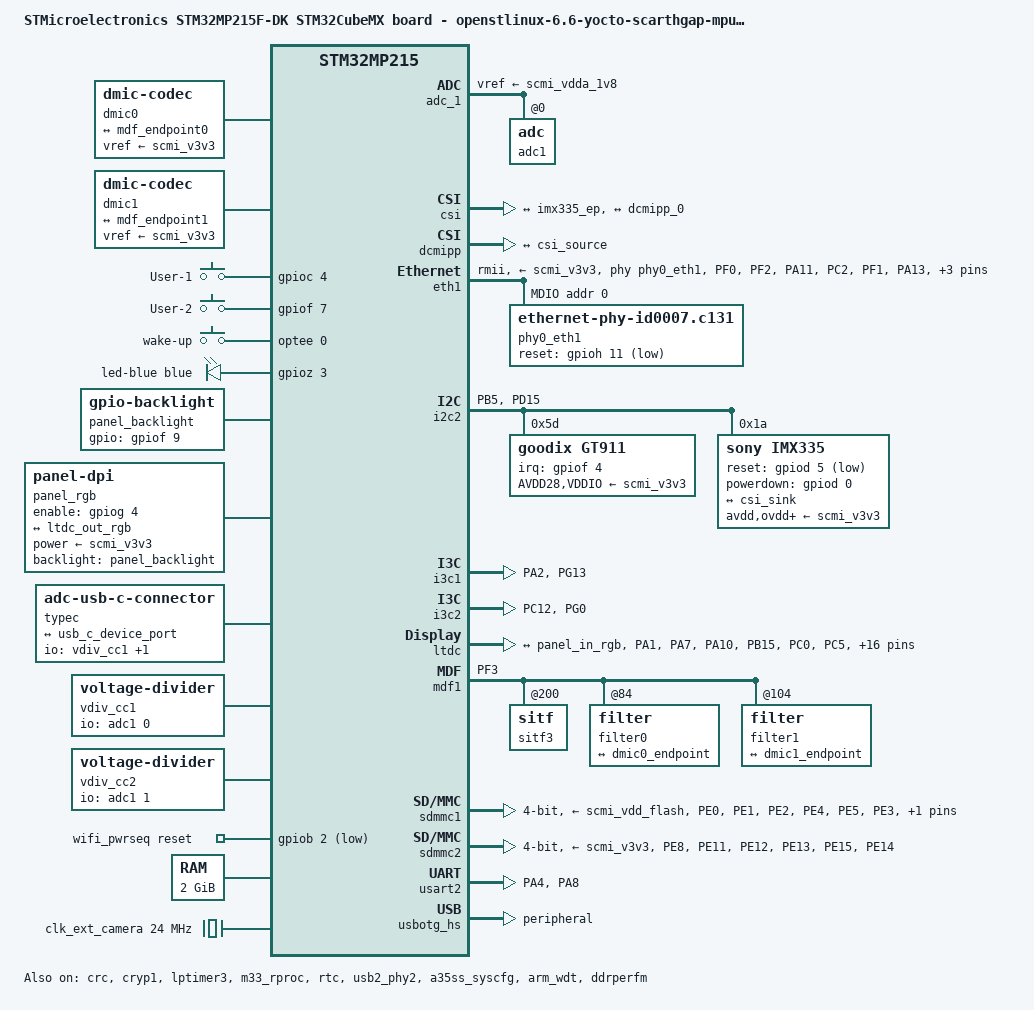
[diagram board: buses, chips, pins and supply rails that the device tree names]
/dts-v1/;
#include <dt-bindings/pinctrl/stm32-pinfunc.h>
#include "stm32mp215.dtsi"
#include "stm32mp21xf.dtsi"

/* USER CODE BEGIN includes */
#include <dt-bindings/gpio/gpio.h>
#include <dt-bindings/leds/common.h>
#include <dt-bindings/input/input.h>
#include <dt-bindings/rtc/rtc-stm32.h>
#include "stm32mp21-pinctrl.dtsi"
/* USER CODE END includes */

/{
	model = "STMicroelectronics STM32MP215F-DK STM32CubeMX board - openstlinux-6.6-yocto-scarthgap-mpu-v25.01.03";
	compatible = "st,stm32mp215f-board_215f-dk_a35td_tzen-mx", "st,stm32mp215f-dk", "st,stm32mp215";

	/* USER CODE BEGIN root */

	aliases{
		ethernet0 = &eth1;
		serial0 = &usart2;
		serial1 = &usart6;
		serial2 = &uart4;
		serial3 = &usart1;
	};

	chosen{
		stdout-path = "serial0:115200n8";
		#address-cells = <2>;
		#size-cells = <2>;
		ranges;
	};

	dmic0:dmic-0{
		compatible = "dmic-codec";
		#sound-dai-cells = <1>;
		sound-name-prefix = "dmic0";
		vref-supply = <&scmi_v3v3>;
		status = "okay";

		port{

			dmic0_endpoint:endpoint{
				remote-endpoint = <&mdf_endpoint0>;
			};
		};
	};

	dmic1:dmic-1{
		compatible = "dmic-codec";
		#sound-dai-cells = <1>;
		sound-name-prefix = "dmic1";
		vref-supply = <&scmi_v3v3>;
		status = "okay";

		port{

			dmic1_endpoint:endpoint{
				remote-endpoint = <&mdf_endpoint1>;
			};
		};
	};

	gpio-keys{
		compatible = "gpio-keys";

		button-user-1{
			label = "User-1";
			linux,code = <BTN_1>;
			gpios = <&gpioc 4 GPIO_ACTIVE_HIGH>;
			status = "okay";
		};

		button-user-2{
			label = "User-2";
			linux,code = <BTN_2>;
			gpios = <&gpiof 7 GPIO_ACTIVE_HIGH>;
			status = "okay";
		};

		button-wake-up{
			label = "wake-up";
			linux,code = <KEY_WAKEUP>;
			interrupts-extended = <&optee 0>;
			wakeup-source;
			status = "okay";
		};
	};

	gpio-leds{
		compatible = "gpio-leds";

		led-blue{
			function = LED_FUNCTION_HEARTBEAT;
			color = <LED_COLOR_ID_BLUE>;
			gpios = <&gpioz 3 GPIO_ACTIVE_HIGH>;
			linux,default-trigger = "heartbeat";
			default-state = "off";
		};
	};

	panel_backlight:panel-backlight{
		compatible = "gpio-backlight";
		gpios = <&gpiof 9 GPIO_ACTIVE_HIGH>;
		default-on;
		default-brightness-level = <1>;
		status = "okay";
	};

	panel_rgb:panel-rgb{
		compatible = "panel-dpi";
		enable-gpios = <&gpiog 4 GPIO_ACTIVE_HIGH>;
		backlight = <&panel_backlight>;
		power-supply = <&scmi_v3v3>;
		data-mapping = "bgr666";
		default-on;
		status = "okay";
		width-mm = <105>;
		height-mm = <67>;

		port{

			panel_in_rgb:endpoint{
				remote-endpoint = <&ltdc_out_rgb>;
			};
		};

		panel-timing{
			clock-frequency = <10000000>;
			hactive = <480>;
			vactive = <272>;
			hsync-len = <52>;
			hfront-porch = <10>;
			hback-porch = <10>;
			vsync-len = <10>;
			vfront-porch = <10>;
			vback-porch = <10>;
			hsync-active = <0>;
			vsync-active = <0>;
			de-active = <1>;
			pixelclk-active = <1>;
		};
	};

	sound{
		compatible = "audio-graph-card";
		label = "STM32MP21-DK";
		dais = <&mdf1_port0 &mdf1_port1>;
		status = "okay";
	};

	typec{
		compatible = "adc-usb-c-connector";
		io-channels = <&vdiv_cc1>, <&vdiv_cc2>;
		io-channel-names = "cc1", "cc2";

		connector{
			compatible = "usb-c-connector";
			label = "USB-C";
			data-role = "device";
			power-role = "sink";

			port{

				usb_c_port:endpoint{
					remote-endpoint = <&usb_c_device_port>;
				};
			};
		};
	};

	vdiv_cc1:voltage-divider-cc1{
		compatible = "voltage-divider";
		#io-channel-cells = <0>;
		io-channels = <&adc1 0>;
		output-ohms = <3900>;
		full-ohms = <5100>;
	};

	vdiv_cc2:voltage-divider-cc2{
		compatible = "voltage-divider";
		#io-channel-cells = <0>;
		io-channels = <&adc1 1>;
		output-ohms = <3900>;
		full-ohms = <5100>;
	};

	wifi_pwrseq:wifi-pwrseq{
		compatible = "mmc-pwrseq-simple";
		reset-gpios = <&gpiob 2 GPIO_ACTIVE_LOW>;
	};
	/* USER CODE END root */

	memory@80000000{
		device_type = "memory";
		reg = <0x0 0x80000000 0x0 0x80000000>;
	};

	clocks{

		/* USER CODE BEGIN clocks */

		clk_ext_camera:clk-ext-camera{
			#clock-cells = <0>;
			compatible = "fixed-clock";
			clock-frequency = <24000000>;
		};
		/* USER CODE END clocks */
	};
};

&pinctrl {

	eth1_mdio_pins_mx:eth1_mdio_mx-0{

		pins{
			pinmux = <STM32_PINMUX('F', 0, AF10)>,
					<STM32_PINMUX('F', 2, AF10)>;
			bias-disable;
			drive-push-pull;
			slew-rate = <1>;
		};
	};

	eth1_mdio_sleep_pins_mx:eth1_mdio_sleep_mx-0{

		pins{
			pinmux = <STM32_PINMUX('F', 0, ANALOG)>,
					<STM32_PINMUX('F', 2, ANALOG)>;
		};
	};

	eth1_rmii_pins_mx:eth1_rmii_mx-0{

		pins1{
			pinmux = <STM32_PINMUX('A', 11, AF10)>,
					<STM32_PINMUX('C', 2, AF10)>,
					<STM32_PINMUX('F', 1, AF10)>;
			bias-disable;
			drive-push-pull;
		};

		pins2{
			pinmux = <STM32_PINMUX('A', 13, AF10)>,
					<STM32_PINMUX('A', 14, AF10)>,
					<STM32_PINMUX('A', 15, AF10)>,
					<STM32_PINMUX('C', 1, AF10)>;
			bias-disable;
			drive-push-pull;
			slew-rate = <1>;
		};
	};

	eth1_rmii_sleep_pins_mx:eth1_rmii_sleep_mx-0{

		pins{
			pinmux = <STM32_PINMUX('A', 11, ANALOG)>,
					<STM32_PINMUX('A', 13, ANALOG)>,
					<STM32_PINMUX('A', 14, ANALOG)>,
					<STM32_PINMUX('A', 15, ANALOG)>,
					<STM32_PINMUX('C', 1, ANALOG)>,
					<STM32_PINMUX('C', 2, ANALOG)>,
					<STM32_PINMUX('F', 1, ANALOG)>;
		};
	};

	i2c2_pins_mx:i2c2_mx-0{

		pins{
			pinmux = <STM32_PINMUX('B', 5, AF9)>,
					<STM32_PINMUX('D', 15, AF6)>;
			bias-disable;
			drive-open-drain;
			slew-rate = <0>;
		};
	};

	i2c2_sleep_pins_mx:i2c2_sleep_mx-0{

		pins{
			pinmux = <STM32_PINMUX('B', 5, ANALOG)>,
					<STM32_PINMUX('D', 15, ANALOG)>;
		};
	};

	i3c1_pins_mx:i3c1_mx-0{

		pins{
			pinmux = <STM32_PINMUX('A', 2, AF8)>,
					<STM32_PINMUX('G', 13, AF10)>;
			bias-pull-up;
			drive-push-pull;
			slew-rate = <3>;
		};
	};

	i3c1_sleep_pins_mx:i3c1_sleep_mx-0{

		pins{
			pinmux = <STM32_PINMUX('A', 2, ANALOG)>,
					<STM32_PINMUX('G', 13, ANALOG)>;
		};
	};

	i3c2_pins_mx:i3c2_mx-0{

		pins{
			pinmux = <STM32_PINMUX('C', 12, AF4)>,
					<STM32_PINMUX('G', 0, AF4)>;
			bias-pull-up;
			drive-push-pull;
			slew-rate = <3>;
		};
	};

	i3c2_sleep_pins_mx:i3c2_sleep_mx-0{

		pins{
			pinmux = <STM32_PINMUX('C', 12, ANALOG)>,
					<STM32_PINMUX('G', 0, ANALOG)>;
		};
	};

	ltdc_pins_mx:ltdc_mx-0{

		pins1{
			pinmux = <STM32_PINMUX('A', 1, AF11)>,
					<STM32_PINMUX('A', 7, AF10)>,
					<STM32_PINMUX('A', 10, AF12)>,
					<STM32_PINMUX('B', 15, AF13)>,
					<STM32_PINMUX('C', 0, AF13)>,
					<STM32_PINMUX('C', 5, AF14)>,
					<STM32_PINMUX('C', 11, AF13)>,
					<STM32_PINMUX('F', 5, AF13)>,
					<STM32_PINMUX('G', 2, AF13)>,
					<STM32_PINMUX('G', 5, AF13)>,
					<STM32_PINMUX('G', 7, AF13)>,
					<STM32_PINMUX('G', 8, AF13)>,
					<STM32_PINMUX('G', 9, AF13)>,
					<STM32_PINMUX('G', 10, AF13)>,
					<STM32_PINMUX('G', 11, AF13)>,
					<STM32_PINMUX('G', 12, AF13)>,
					<STM32_PINMUX('G', 15, AF13)>,
					<STM32_PINMUX('I', 0, AF13)>,
					<STM32_PINMUX('I', 1, AF13)>,
					<STM32_PINMUX('I', 4, AF13)>,
					<STM32_PINMUX('I', 6, AF13)>;
			bias-disable;
			drive-push-pull;
			slew-rate = <0>;
			st,io-clk-edge = <0>;
			st,io-retime = <1>;
			st,io-delay-path = <0>;
			st,io-delay = <0b0000>;
		};

		pins2{
			pinmux = <STM32_PINMUX('F', 12, AF13)>;
			bias-disable;
			drive-push-pull;
			slew-rate = <1>;
			st,io-clk-edge = <0>;
			st,io-retime = <0>;
			st,io-delay-path = <0>;
			st,io-delay = <0b0000>;
		};
	};

	ltdc_sleep_pins_mx:ltdc_sleep_mx-0{

		pins{
			pinmux = <STM32_PINMUX('A', 1, ANALOG)>,
					<STM32_PINMUX('A', 7, ANALOG)>,
					<STM32_PINMUX('A', 10, ANALOG)>,
					<STM32_PINMUX('B', 15, ANALOG)>,
					<STM32_PINMUX('C', 0, ANALOG)>,
					<STM32_PINMUX('C', 5, ANALOG)>,
					<STM32_PINMUX('C', 11, ANALOG)>,
					<STM32_PINMUX('F', 5, ANALOG)>,
					<STM32_PINMUX('F', 12, ANALOG)>,
					<STM32_PINMUX('G', 2, ANALOG)>,
					<STM32_PINMUX('G', 5, ANALOG)>,
					<STM32_PINMUX('G', 7, ANALOG)>,
					<STM32_PINMUX('G', 8, ANALOG)>,
					<STM32_PINMUX('G', 9, ANALOG)>,
					<STM32_PINMUX('G', 10, ANALOG)>,
					<STM32_PINMUX('G', 11, ANALOG)>,
					<STM32_PINMUX('G', 12, ANALOG)>,
					<STM32_PINMUX('G', 15, ANALOG)>,
					<STM32_PINMUX('I', 0, ANALOG)>,
					<STM32_PINMUX('I', 1, ANALOG)>,
					<STM32_PINMUX('I', 4, ANALOG)>,
					<STM32_PINMUX('I', 6, ANALOG)>;
		};
	};

	mdf1_pins_mx:mdf1_mx-0{

		pins{
			pinmux = <STM32_PINMUX('F', 3, AF5)>;
			bias-disable;
			drive-push-pull;
			slew-rate = <1>;
		};
	};

	mdf1_sleep_pins_mx:mdf1_sleep_mx-0{

		pins{
			pinmux = <STM32_PINMUX('F', 3, ANALOG)>;
		};
	};

	sdmmc1_pins_mx:sdmmc1_mx-0{

		pins1{
			pinmux = <STM32_PINMUX('E', 0, AF10)>,
					<STM32_PINMUX('E', 1, AF10)>,
					<STM32_PINMUX('E', 2, AF10)>,
					<STM32_PINMUX('E', 4, AF10)>,
					<STM32_PINMUX('E', 5, AF10)>;
			bias-disable;
			drive-push-pull;
			slew-rate = <2>;
		};

		pins2{
			pinmux = <STM32_PINMUX('E', 3, AF10)>;
			bias-disable;
			drive-push-pull;
			slew-rate = <3>;
		};
	};

	sdmmc1_opendrain_pins_mx:sdmmc1_opendrain_mx-0{

		pins1{
			pinmux = <STM32_PINMUX('E', 0, AF10)>,
					<STM32_PINMUX('E', 1, AF10)>,
					<STM32_PINMUX('E', 4, AF10)>,
					<STM32_PINMUX('E', 5, AF10)>;
			bias-disable;
			drive-push-pull;
			slew-rate = <2>;
		};

		pins2{
			pinmux = <STM32_PINMUX('E', 2, AF10)>;
			bias-disable;
			drive-open-drain;
			slew-rate = <2>;
		};

		pins3{
			pinmux = <STM32_PINMUX('E', 3, AF10)>;
			bias-disable;
			drive-push-pull;
			slew-rate = <3>;
		};
	};

	sdmmc1_sleep_pins_mx:sdmmc1_sleep_mx-0{

		pins{
			pinmux = <STM32_PINMUX('E', 0, ANALOG)>,
					<STM32_PINMUX('E', 1, ANALOG)>,
					<STM32_PINMUX('E', 2, ANALOG)>,
					<STM32_PINMUX('E', 3, ANALOG)>,
					<STM32_PINMUX('E', 4, ANALOG)>,
					<STM32_PINMUX('E', 5, ANALOG)>;
		};
	};

	sdmmc2_pins_mx:sdmmc2_mx-0{

		pins1{
			pinmux = <STM32_PINMUX('E', 8, AF12)>,
					<STM32_PINMUX('E', 11, AF12)>,
					<STM32_PINMUX('E', 12, AF12)>,
					<STM32_PINMUX('E', 13, AF12)>,
					<STM32_PINMUX('E', 15, AF12)>;
			bias-disable;
			drive-push-pull;
			slew-rate = <2>;
		};

		pins2{
			pinmux = <STM32_PINMUX('E', 14, AF12)>;
			bias-disable;
			drive-push-pull;
			slew-rate = <3>;
		};
	};

	sdmmc2_opendrain_pins_mx:sdmmc2_opendrain_mx-0{

		pins1{
			pinmux = <STM32_PINMUX('E', 8, AF12)>,
					<STM32_PINMUX('E', 11, AF12)>,
					<STM32_PINMUX('E', 12, AF12)>,
					<STM32_PINMUX('E', 13, AF12)>;
			bias-disable;
			drive-push-pull;
			slew-rate = <2>;
		};

		pins2{
			pinmux = <STM32_PINMUX('E', 14, AF12)>;
			bias-disable;
			drive-push-pull;
			slew-rate = <3>;
		};

		pins3{
			pinmux = <STM32_PINMUX('E', 15, AF12)>;
			bias-disable;
			drive-open-drain;
			slew-rate = <2>;
		};
	};

	sdmmc2_sleep_pins_mx:sdmmc2_sleep_mx-0{

		pins{
			pinmux = <STM32_PINMUX('E', 8, ANALOG)>,
					<STM32_PINMUX('E', 11, ANALOG)>,
					<STM32_PINMUX('E', 12, ANALOG)>,
					<STM32_PINMUX('E', 13, ANALOG)>,
					<STM32_PINMUX('E', 14, ANALOG)>,
					<STM32_PINMUX('E', 15, ANALOG)>;
		};
	};

	usart2_pins_mx:usart2_mx-0{

		pins1{
			pinmux = <STM32_PINMUX('A', 4, AF6)>;
			bias-disable;
			drive-push-pull;
			slew-rate = <0>;
		};

		pins2{
			pinmux = <STM32_PINMUX('A', 8, AF8)>;
			bias-disable;
			drive-push-pull;
		};
	};

	usart2_idle_pins_mx:usart2_idle_mx-0{

		pins1{
			pinmux = <STM32_PINMUX('A', 4, ANALOG)>;
		};

		pins2{
			pinmux = <STM32_PINMUX('A', 8, AF8)>;
			bias-disable;
			drive-push-pull;
		};
	};

	usart2_sleep_pins_mx:usart2_sleep_mx-0{

		pins{
			pinmux = <STM32_PINMUX('A', 4, ANALOG)>,
					<STM32_PINMUX('A', 8, ANALOG)>;
		};
	};
};

&pinctrl_z {
};

&adc_1 {
	status = "okay";

	/* USER CODE BEGIN adc_1 */
	vdda-supply = <&scmi_vdda18adc>;
	vref-supply = <&scmi_vdda_1v8>;

	adc1:adc@0{
		status = "okay";

		channel@0{
			reg = <0>;
			st,min-sample-time-ns = <100>;
		};

		channel@1{
			reg = <1>;
			st,min-sample-time-ns = <100>;
		};
	};
	/* USER CODE END adc_1 */
};

&crc {
	status = "okay";
};

&cryp1 {
	status = "okay";
};

&csi {
	status = "okay";

	/* USER CODE BEGIN csi */
	vdd-supply = <&scmi_vddcore>;
	vdda18-supply = <&scmi_vdda_1v8>;

	ports{
		#address-cells = <1>;
		#size-cells = <0>;

		port@0{
			reg = <0>;

			csi_sink:endpoint{
				remote-endpoint = <&imx335_ep>;
				data-lanes = <1 2>;
				bus-type = <4>;
			};
		};

		port@1{
			reg = <1>;

			csi_source:endpoint{
				remote-endpoint = <&dcmipp_0>;
			};
		};
	};
	/* USER CODE END csi */
};

&dcmipp {
	status = "okay";

	/* USER CODE BEGIN dcmipp */

	port{

		dcmipp_0:endpoint{
			remote-endpoint = <&csi_source>;
			bus-type = <4>;
		};
	};
	/* USER CODE END dcmipp */
};

&eth1 {
	pinctrl-names = "default", "sleep";
	pinctrl-0 = <&eth1_mdio_pins_mx>, <&eth1_rmii_pins_mx>;
	pinctrl-1 = <&eth1_mdio_sleep_pins_mx>, <&eth1_rmii_sleep_pins_mx>;
	status = "okay";

	/* USER CODE BEGIN eth1 */
	phy-mode = "rmii";
	max-speed = <100>;
	phy-handle = <&phy0_eth1>;
	phy-supply = <&scmi_v3v3>;
	st,ext-phyclk;

	mdio1{
		#address-cells = <1>;
		#size-cells = <0>;
		compatible = "snps,dwmac-mdio";

		phy0_eth1:ethernet-phy@0{
			compatible = "ethernet-phy-id0007.c131";
			reset-gpios = <&gpioh 11 GPIO_ACTIVE_LOW>;
			reset-assert-us = <1000>;
			reset-deassert-us = <30000>;
			reg = <0>;
		};
	};
	/* USER CODE END eth1 */
};

&hpdma {
	status = "okay";

	/* USER CODE BEGIN hpdma */
	memory-region = <&hpdma1_lli>;
	lli-bus-interface = <1>;
	/* USER CODE END hpdma */
};

&hpdma2 {
	status = "okay";

	/* USER CODE BEGIN hpdma2 */
	memory-region = <&hpdma2_lli>;
	lli-bus-interface = <1>;
	/* USER CODE END hpdma2 */
};

&hpdma3 {
	status = "okay";

	/* USER CODE BEGIN hpdma3 */
	memory-region = <&hpdma3_lli>;
	lli-bus-interface = <1>;
	/* USER CODE END hpdma3 */
};

&i2c2 {
	pinctrl-names = "default", "sleep";
	pinctrl-0 = <&i2c2_pins_mx>;
	pinctrl-1 = <&i2c2_sleep_pins_mx>;
	status = "okay";

	/* USER CODE BEGIN i2c2 */
	i2c-scl-rising-time-ns = <34>;
	i2c-scl-falling-time-ns = <2>;
	goodix:goodix-ts@5d{
		compatible = "goodix,gt911";
		reg = <0x5d>;
		pinctrl-names = "default";
		pinctrl-0 = <&goodix_pins_a>;
		interrupt-parent = <&gpiof>;
		interrupts = <4 IRQ_TYPE_EDGE_FALLING>;
		AVDD28-supply = <&scmi_v3v3>;
		VDDIO-supply = <&scmi_v3v3>;
		touchscreen-size-x = <480>;
		touchscreen-size-y = <272>;
		status = "okay";
	};

	imx335:camera@1a{
		compatible = "sony,imx335";
		reg = <0x1a>;
		clocks = <&clk_ext_camera>;
		avdd-supply = <&scmi_v3v3>;
		ovdd-supply = <&scmi_v3v3>;
		dvdd-supply = <&scmi_v3v3>;
		reset-gpios = <&gpiod 5 (GPIO_ACTIVE_LOW | GPIO_PUSH_PULL)>;
		powerdown-gpios = <&gpiod 0 (GPIO_ACTIVE_HIGH | GPIO_PUSH_PULL)>;

		port{

			imx335_ep:endpoint{
				remote-endpoint = <&csi_sink>;
				clock-lanes = <0>;
				data-lanes = <1 2>;
				link-frequencies = /bits/ 64 <594000000>;
			};
		};
	};
	/* USER CODE END i2c2 */
};

&i3c1 {
	pinctrl-names = "default", "sleep";
	pinctrl-0 = <&i3c1_pins_mx>;
	pinctrl-1 = <&i3c1_sleep_pins_mx>;
	status = "okay";

	/* USER CODE BEGIN i3c1 */
	/* USER CODE END i3c1 */
};

&i3c2 {
	pinctrl-names = "default", "sleep";
	pinctrl-0 = <&i3c2_pins_mx>;
	pinctrl-1 = <&i3c2_sleep_pins_mx>;
	status = "okay";

	/* USER CODE BEGIN i3c2 */
	/* USER CODE END i3c2 */
};

&ipcc1 {
	status = "okay";
};

&lptimer3 {
	status = "okay";

	/* USER CODE BEGIN lptimer3 */

	timer{
		status = "okay";
	};
	/* USER CODE END lptimer3 */
};

&ltdc {
	pinctrl-names = "default", "sleep";
	pinctrl-0 = <&ltdc_pins_mx>;
	pinctrl-1 = <&ltdc_sleep_pins_mx>;
	status = "okay";

	/* USER CODE BEGIN ltdc */
	default-on;

	port{

		ltdc_out_rgb:endpoint{
			remote-endpoint = <&panel_in_rgb>;
		};
	};
	/* USER CODE END ltdc */
};

&m33_rproc {
	status = "okay";

	/* USER CODE BEGIN m33_rproc */
	compatible = "st,stm32mp2-m33-tee";
	memory-region = <&ipc_shmem_1>, <&vdev0vring0>,
			<&vdev0vring1>, <&vdev0buffer>,
			<&cm33_sram1>;
	/* USER CODE END m33_rproc */
};

&mdf1 {
	pinctrl-names = "default", "sleep";
	pinctrl-0 = <&mdf1_pins_mx>;
	pinctrl-1 = <&mdf1_sleep_pins_mx>;
	status = "okay";

	/* USER CODE BEGIN mdf1 */
	#clock-cells = <1>;
	clock-output-names = "cck0";
	clock-frequency = <1536000>;

	sitf3:sitf@200{
		pinctrl-names = "default", "sleep";
		pinctrl-0 = <&mdf_sdi3_pins_a>;
		pinctrl-1 = <&mdf_sdi3_sleep_pins_a>;
		st,sitf-mode = "spi";
		clocks = <&mdf1 0>;
		status = "okay";
	};

	filter0:filter@84{
		#address-cells = <1>;
		#size-cells = <0>;
		st,cic-mode = <4>;
		st,sitf = <&sitf3 0>;
		st,hpf-filter-cutoff-bp = <625>;
		status = "okay";

		channel@0{
			reg = <0>;
			label = "dmic_u26";
		};

		asoc_pdm0:mdf-dai{
			compatible = "st,stm32mp25-mdf-dai";
			#sound-dai-cells = <0>;
			io-channels = <&filter0 0>;
			power-domains = <&d1_pd>;
			status = "okay";

			mdf1_port0:port{

				mdf_endpoint0:endpoint{
					remote-endpoint = <&dmic0_endpoint>;
				};
			};
		};
	};

	filter1:filter@104{
		#address-cells = <1>;
		#size-cells = <0>;
		st,cic-mode = <4>;
		st,sitf = <&sitf3 1>;
		st,hpf-filter-cutoff-bp = <625>;
		status = "okay";

		channel@1{
			reg = <1>;
			label = "dmic_u27";
		};

		asoc_pdm1:mdf-dai{
			compatible = "st,stm32mp25-mdf-dai";
			#sound-dai-cells = <0>;
			io-channels = <&filter1 0>;
			power-domains = <&d1_pd>;
			status = "okay";

			mdf1_port1:port{

				mdf_endpoint1:endpoint{
					remote-endpoint = <&dmic1_endpoint>;
				};
			};
		};
	};
	/* USER CODE END mdf1 */
};

&rtc {
	status = "okay";

	/* USER CODE BEGIN rtc */
	st,lsco = <RTC_OUT1>;
	/* USER CODE END rtc */
};

&sdmmc1 {
	pinctrl-names = "default", "opendrain", "sleep";
	pinctrl-0 = <&sdmmc1_pins_mx>;
	pinctrl-1 = <&sdmmc1_opendrain_pins_mx>;
	pinctrl-2 = <&sdmmc1_sleep_pins_mx>;
	status = "okay";

	/* USER CODE BEGIN sdmmc1 */
	cd-gpios = <&gpiod 3 (GPIO_ACTIVE_LOW | GPIO_PULL_UP)>;
	disable-wp;
	st,neg-edge;
	bus-width = <4>;
	vmmc-supply = <&scmi_vdd_flash>;
	vqmmc-supply = <&scmi_vddio1>;
	/* USER CODE END sdmmc1 */
};

&sdmmc2 {
	pinctrl-names = "default", "opendrain", "sleep";
	pinctrl-0 = <&sdmmc2_pins_mx>;
	pinctrl-1 = <&sdmmc2_opendrain_pins_mx>;
	pinctrl-2 = <&sdmmc2_sleep_pins_mx>;
	status = "okay";

	/* USER CODE BEGIN sdmmc2 */
	st,neg-edge;
	cap-sdio-irq;
	bus-width = <4>;
	vmmc-supply = <&scmi_v3v3>;
	vqmmc-supply = <&scmi_vddio2>;
	mmc-pwrseq = <&wifi_pwrseq>;
	#address-cells = <1>;
	#size-cells = <0>;
	sd-uhs-sdr12;
	sd-uhs-sdr25;
	sd-uhs-sdr50;
	sd-uhs-ddr50;
	sd-uhs-sdr104;
	/* USER CODE END sdmmc2 */
};

&usart2 {
	pinctrl-names = "default", "idle", "sleep";
	pinctrl-0 = <&usart2_pins_mx>;
	pinctrl-1 = <&usart2_idle_pins_mx>;
	pinctrl-2 = <&usart2_sleep_pins_mx>;
	status = "okay";

	/* USER CODE BEGIN usart2 */
	/delete-property/ dmas;
	/delete-property/ dma-names;
	/* USER CODE END usart2 */
};

&usb2_phy2 {
	status = "okay";

	/* USER CODE BEGIN usb2_phy2 */
	vdda18-supply = <&scmi_vdda_1v8>;
	vdd33-supply = <&scmi_vdd3v3_usb>;
	/* USER CODE END usb2_phy2 */
};

&usbotg_hs {
	status = "okay";

	/* USER CODE BEGIN usbotg_hs */
	role-switch-default-mode = "peripheral";
	dr_mode = "peripheral";
	usb-role-switch;

	port{

		usb_c_device_port:endpoint{
			remote-endpoint = <&usb_c_port>;
		};
	};
	/delete-node/ port;
	/* USER CODE END usbotg_hs */
};

/* USER CODE BEGIN addons */

&a35ss_syscfg {
	status = "okay";
};

&arm_wdt {
	timeout-sec = <32>;
	status = "okay";
};

&ddrperfm {
	st,dram-type = <0>;
	status = "okay";
};

&scmi_regu {
	scmi_vddcore: regulator@5 {
		reg = <VOLTD_SCMI_STPMIC_BUCK1>;
		regulator-name = "vddcore";
	};
	scmi_vdd3v3_usb: regulator@f {
		reg = <VOLTD_SCMI_STPMIC_LDO4>;
		regulator-name = "vdd3v3_usb";
	};
	scmi_vdd_flash: regulator@10 {
		reg = <VOLTD_SCMI_STPMIC_LDO5>;
		regulator-name = "vdd_flash";
	};
	scmi_vdda_1v8: regulator@11 {
		reg = <VOLTD_SCMI_STPMIC_LDO6>;
		regulator-name = "vdda_1v8";
	};
	scmi_v3v3: regulator@15 {
		reg = <VOLTD_SCMI_STPMIC_GPO1>;
		regulator-name = "v3v3";
	};
};
/* USER CODE END addons */
